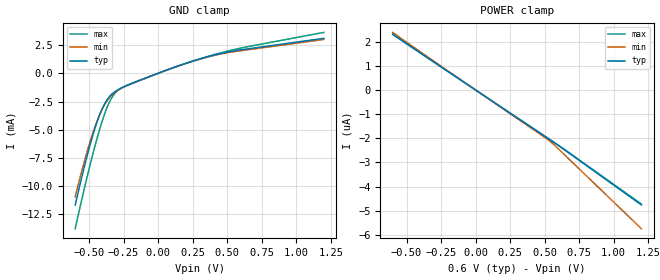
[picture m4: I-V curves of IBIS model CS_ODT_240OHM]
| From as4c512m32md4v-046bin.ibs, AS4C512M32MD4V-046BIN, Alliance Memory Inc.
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|   MODEL: CS_ODT_240OHM
[Model]   CS_ODT_240OHM
Model_type   Input
Vinl   = 0.080V
Vinh   = 0.220V
|   typ   min   max
C_comp   0.564pF   0.508pF   0.620pF
[Voltage Range]   0.600V   0.570V   0.650V
[Temperature Range]   25.0   95.0   -40.0
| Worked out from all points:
|   GND clamp passes 1 mA (typ) near -0.21 V on its own axis
[GND Clamp]
|   Voltage   I(typ)   I(min)   I(max)
-600mV    -11.67mA   -10.94mA   -13.76mA
-500mV    -6.685mA   -6.373mA   -8.489mA
-430mV    -3.897mA   -3.875mA   -5.251mA
-400mV    -3.011mA   -3.068mA   -4.054mA
-360mV    -2.182mA   -2.274mA   -2.75mA
-330mV    -1.79mA    -1.866mA   -2.059mA
-290mV    -1.452mA   -1.493mA   -1.505mA
-210mV    -1.005mA   -1.008mA   -980uA
80mV      368.8uA    364.6uA    363.2uA
390mV     1.567mA    1.535mA    1.598mA
580mV     2.047mA    1.973mA    2.186mA
1.2V      3.099mA    2.996mA    3.624mA
[POWER Clamp]
|   Voltage   I(typ)   I(min)   I(max)
-600mV    2.308uA    2.386uA    2.308uA
540mV     -2.065uA   -2.13uA    -2.064uA
650mV     -2.505uA   -2.717uA   -2.488uA
1.2V      -4.759uA   -5.745uA   -4.723uA
